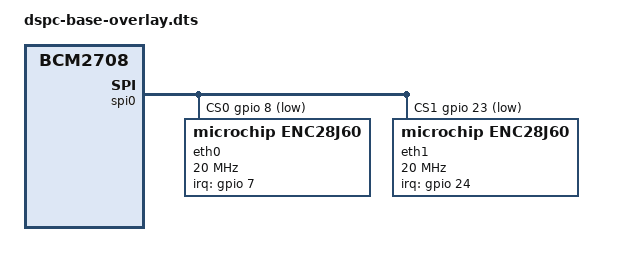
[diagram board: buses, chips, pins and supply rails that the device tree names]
// Overlay for de0_nano board
/dts-v1/;
/plugin/;

/ {
	compatible = "brcm,bcm2708";

	fragment@1 {
		target = <&gpio>;
		__overlay__ {
			spi0_pins: spi0_pins {
				brcm,pins = <9 10 11>;
				brcm,function = <4>; /* alt0 */
			};

			eth_cs_pins: eth_cs_pins {
				brcm,pins = <8 23>;
				brcm,function = <1>; /* out */
			};

			eth0_irq_pin: eth0_irq_pin {
				brcm,pins = <7>;
				brcm,function = <0>; /* in */
				brcm,pull = <0>; /* none */
			};

			eth1_irq_pin: eth1_irq_pin {
				brcm,pins = <24>;
				brcm,function = <0>; /* in */
				brcm,pull = <0>; /* none */
			};
		};
	};

	fragment@2 {
		target = <&spi0>;
		__overlay__ {
			/* needed to avoid dtc warning */
			#address-cells = <1>;
			#size-cells = <0>;
			compatible = "brcm,bcm2835-spi";
			pinctrl-0 = <&spi0_pins &eth_cs_pins>;
			status = "okay";
			cs-gpios = <&gpio 8 1>, <&gpio 23 1>;

			spidev@0{
				status = "disabled";
			};

			spidev@1{
				status = "disabled";
			};

			eth0: enc28j60@0{
				compatible = "microchip,enc28j60";
				reg = <0>; /* CE0 */
				pinctrl-names = "default";
				pinctrl-0 = <&eth0_irq_pin>;
				interrupt-parent = <&gpio>;
				interrupts = <7 0x2>; /* falling edge */
				spi-max-frequency = <20000000>;
				status = "okay";
			};

			eth1: enc28j60@1{
				compatible = "microchip,enc28j60";
				reg = <1>; /* CE1 */
				pinctrl-names = "default";
				pinctrl-0 = <&eth1_irq_pin>;
				interrupt-parent = <&gpio>;
				interrupts = <24 0x2>; /* falling edge */
				spi-max-frequency = <20000000>;
				status = "okay";
			};
		};
	};
};
